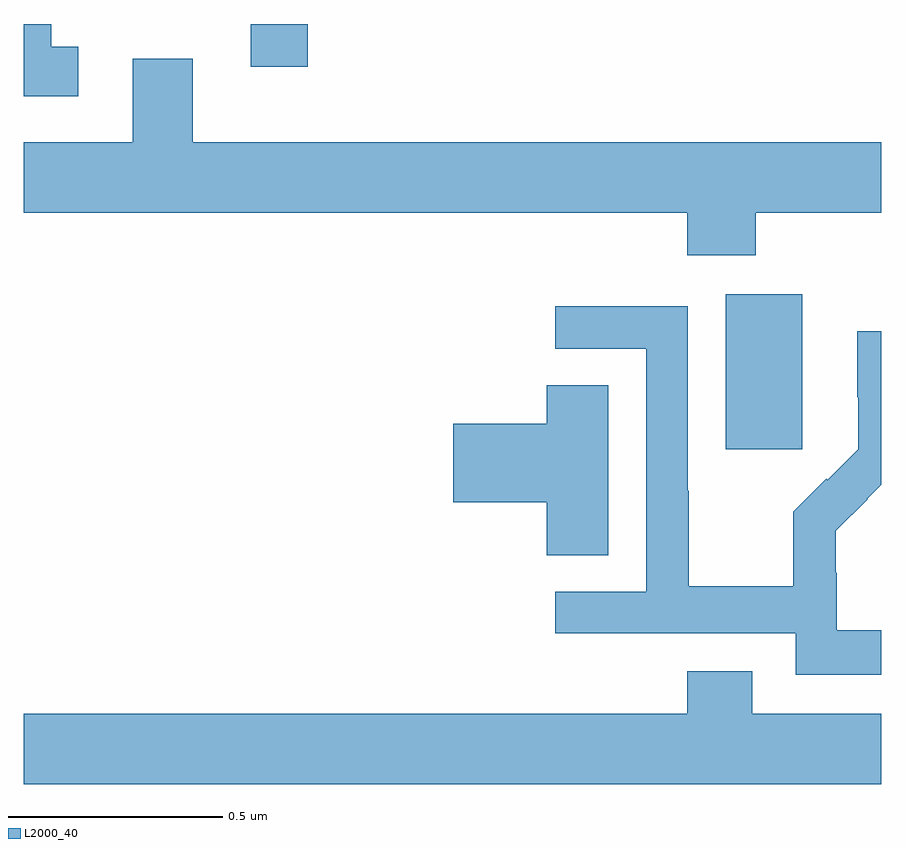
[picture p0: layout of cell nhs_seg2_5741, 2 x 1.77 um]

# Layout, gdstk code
import gdstk
lib = gdstk.Library(unit=1e-6, precision=1e-09)
def R(c, l, rs):  # rectangles x0, y0, x1, y1
    for r in rs: c.add(gdstk.rectangle(r[:2], r[2:], *l))
def P(c, l, *ps):  # polygons
    for p in ps: c.add(gdstk.Polygon(p, *l))
L2000_40 = (2000, 40)

nhs_seg2_5741 = lib.new_cell('nhs_seg2_5741')
R(nhs_seg2_5741, L2000_40, [(184.637,589.809,184.816,590.17), (183.53,590.7,183.662,590.8)])
P(nhs_seg2_5741, L2000_40, [(183.127,590.747),(183.064,590.747),(183.064,590.8),(183,590.8),(183,590.631),(183.127,590.631)],
  [(184.707,590.36),(185,590.36),(185,590.524),(183.394,590.524),(183.394,590.719),(183.254,590.719),(183.254,590.524),(183,590.524),(183,590.36),(184.547,590.36),(184.547,590.261),(184.707,590.261)],
  [(185,589.387),(184.896,589.387),(184.896,589.521),(184.894,589.521),(184.894,589.618),(184.968,589.692),(184.967,589.693),(185,589.726),(185,590.084),(184.944,590.084),(184.944,589.93),(184.946,589.93),(184.946,589.808),(184.875,589.737),(184.872,589.74),(184.795,589.663),(184.795,589.489),(184.551,589.489),(184.551,589.712),(184.548,589.712),(184.548,590.142),(184.239,590.142),(184.239,590.043),(184.452,590.043),(184.452,589.476),(184.239,589.476),(184.239,589.38),(184.8,589.38),(184.8,589.283),(185,589.283)],
  [(184.363,589.958),(184.22,589.958),(184.22,589.868),(184.002,589.868),(184.002,589.685),(184.22,589.685),(184.22,589.561),(184.363,589.561)],
  [(185,589.192),(184.699,589.192),(184.699,589.291),(184.547,589.291),(184.547,589.192),(183,589.192),(183,589.028),(185,589.028)])

lib.write_gds('nhs_seg2_5741.gds')
